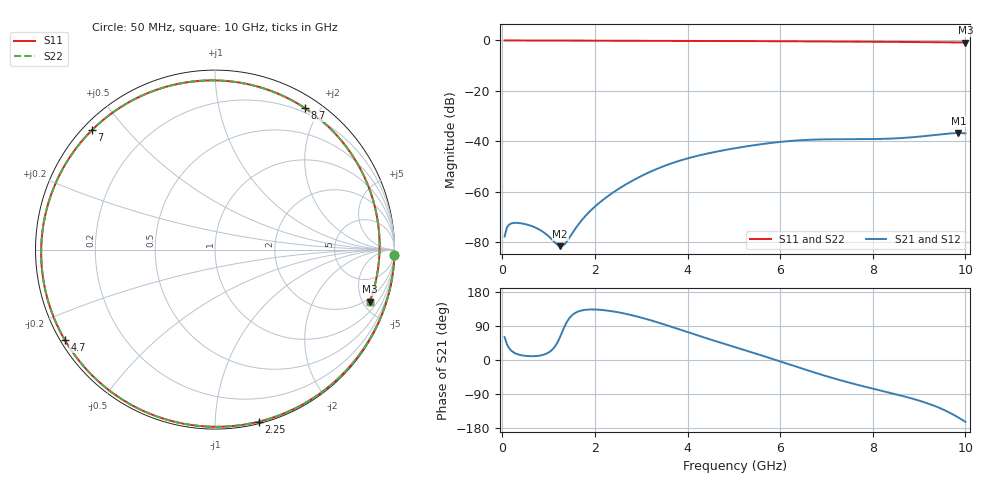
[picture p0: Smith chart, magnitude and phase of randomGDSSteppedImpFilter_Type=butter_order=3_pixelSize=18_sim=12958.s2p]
! freq	dB(S11)	phase(S11)	dB(S12)	phase(S12)
!  dB(S21)	phase(S21)	dB(S22)	phase(S22)
!S-par simulation data
#  GHz  S  DB  R 50
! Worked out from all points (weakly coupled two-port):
!   200 points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, 50 MHz to 10 GHz, reference 50 ohm
!   highest |S21| = -36.77 dB at 9.85 GHz (marker M1); lowest = -81.7 dB at 1.25 GHz (marker M2)
!   lowest |S11| = -0.8 dB at 10 GHz (marker M3), VSWR 21.22, Z = 83.2 - j281 ohm
!   |S11| at or under -10 dB: nowhere
!   |S22| runs from -0.8 to 0.0 dB; largest |S21 - S12| = 0
!   S11 on the Smith chart (normalised r, x): 50 MHz: 0, -65; 2.25 GHz: 0.01, -1.29; 4.7 GHz: 0.01, -0.28; 7 GHz: 0.03, +0.41; 8.7 GHz: 0.15, +1.82; 10 GHz: 1.66, -5.62
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0.05  -0.00 -1.8  -77.86 60.6  -77.86 60.6  -0.00 -1.8
0.1  -0.00 -3.5  -74.24 41.5  -74.24 41.5  -0.00 -3.5
0.15  -0.00 -5.3  -73.08 30.6  -73.08 30.6  -0.00 -5.3
0.35  -0.01 -12.3  -72.49 14.4  -72.49 14.4  -0.01 -12.3
0.7  -0.03 -24.4  -74.20 10.2  -74.20 10.2  -0.03 -24.4
1.1  -0.05 -38.1  -79.53 29.9  -79.53 29.9  -0.05 -38.1
1.25  -0.05 -43.1  -81.70 61.4  -81.70 61.4  -0.05 -43.1
1.4  -0.06 -48.1  -79.68 101.8  -79.68 101.8  -0.06 -48.1
1.75  -0.07 -59.6  -70.63 131.6  -70.63 131.6  -0.07 -59.6
2.25  -0.09 -75.7  -62.25 130.7  -62.25 130.7  -0.09 -75.7
3.4  -0.14 -110.9  -50.55 97.6  -50.55 97.6  -0.14 -110.9
4.7  -0.21 -149.1  -43.89 46.2  -43.89 46.2  -0.21 -149.1
5.05  -0.23 -159.5  -42.72 33.0  -42.72 33.0  -0.23 -159.5
5.9  -0.29 174.2  -40.49 0.3  -40.49 0.3  -0.29 174.2
6.7  -0.37 147.0  -39.40 -31.5  -39.40 -31.5  -0.37 146.9
7  -0.40 135.8  -39.27 -42.8  -39.27 -42.8  -0.40 135.7
7.75  -0.48 104.7  -39.21 -68.0  -39.21 -68.0  -0.48 104.6
8.35  -0.55 75.9  -39.00 -86.0  -39.00 -86.0  -0.55 75.8
8.7  -0.59 57.5  -38.66 -96.8  -38.66 -96.8  -0.59 57.4
9.3  -0.68 23.3  -37.61 -119.6  -37.61 -119.6  -0.68 23.2
9.85  -0.79 -9.6  -36.77 -151.9  -36.77 -151.9  -0.79 -9.7
10  -0.82 -18.6  -36.87 -163.2  -36.87 -163.2  -0.82 -18.7
